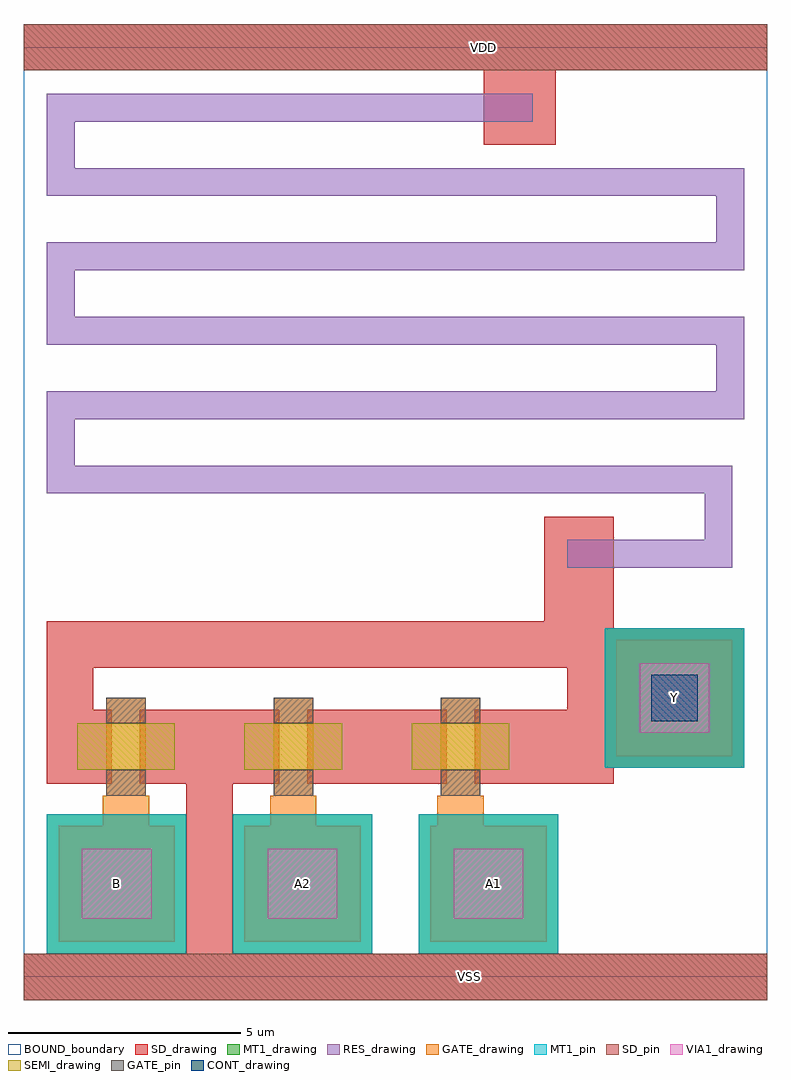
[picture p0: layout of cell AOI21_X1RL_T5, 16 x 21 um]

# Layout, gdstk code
from math import pi, radians
import gdstk
lib = gdstk.Library(unit=1e-6, precision=1e-09)
def R(c, l, rs):  # rectangles x0, y0, x1, y1
    for r in rs: c.add(gdstk.rectangle(r[:2], r[2:], *l))
def A(c, l, x, y, w, h, nx, ny, dx, dy):  # array of equal rectangles
    R(c, l, [(x+i*dx, y+j*dy, x+i*dx+w, y+j*dy+h) for i in range(nx) for j in range(ny)])
def P(c, l, *ps):  # polygons
    for p in ps: c.add(gdstk.Polygon(p, *l))
RES_drawing = (1, 0)
SEMI_drawing = (3, 0)
SD_drawing = (10, 0)
SD_pin = (10, 3)
GATE_drawing = (11, 0)
GATE_pin = (11, 3)
MT1_drawing = (20, 0)
MT1_pin = (20, 3)
CONT_drawing = (30, 0)
VIA1_drawing = (41, 0)
BOUND_boundary = (150, 5)

nch_cdns_772544861720 = lib.new_cell('nch_CDNS_772544861720')
R(nch_cdns_772544861720, SEMI_drawing, [(-1.05,-0.5,1.05,0.5)])
R(nch_cdns_772544861720, SD_drawing, [(-1.3,-0.8,-0.3,0.8), (0.3,-0.8,1.3,0.8)])
R(nch_cdns_772544861720, GATE_drawing, [(-0.425,-1.05,0.425,1.05)])
R(nch_cdns_772544861720, GATE_pin, [(-0.425,-1.05,0.425,-0.5), (-0.425,0.5,0.425,1.05)])

gate_mt1_cdns_7725448617 = lib.new_cell('GATE_MT1_CDNS_772544861720')
R(gate_mt1_cdns_7725448617, GATE_drawing, [(-1.25,-1.25,1.25,1.25)])
R(gate_mt1_cdns_7725448617, MT1_drawing, [(-1.25,-1.25,1.25,1.25)])
R(gate_mt1_cdns_7725448617, VIA1_drawing, [(-0.75,-0.75,0.75,0.75)])

sd_gate_cdns_77254486172 = lib.new_cell('SD_GATE_CDNS_772544861721')
R(sd_gate_cdns_77254486172, SD_drawing, [(-1,-1,1,1)])
R(sd_gate_cdns_77254486172, GATE_drawing, [(-1,-1,1,1)])
R(sd_gate_cdns_77254486172, CONT_drawing, [(-0.5,-0.5,0.5,0.5)])

aoi21_x1rl_t5 = lib.new_cell('AOI21_X1RL_T5')
R(aoi21_x1rl_t5, SD_drawing, [(7.1,4.15,8.1,5.75), (9.95,4.15,12.7,5.75), (12.5,4.5,15.5,7.5), (11.7,5.65,12.7,7.65), (11.2,7.65,12.7,9.9), (9.9,17.9,11.45,19.5)])
R(aoi21_x1rl_t5, SD_pin, [(0,-0.5,16,0.5), (0,19.5,16,20.5)])
P(aoi21_x1rl_t5, GATE_drawing, [(8.9,3.8),(9.9,3.8),(9.9,3.9),(9.775,3.9),(9.775,3.95),(9.025,3.95),(9.025,3.9),(8.9,3.9)],
  [(1.7,3.8),(2.7,3.8),(2.7,3.9),(2.575,3.9),(2.575,3.95),(1.825,3.95),(1.825,3.9),(1.7,3.9)],
  [(5.3,3.8),(6.3,3.8),(6.3,3.9),(6.175,3.9),(6.175,3.95),(5.425,3.95),(5.425,3.9),(5.3,3.9)])
A(aoi21_x1rl_t5, MT1_drawing, 0.5, 0.5, 3, 3, 3, 1, 4, 0)
R(aoi21_x1rl_t5, MT1_drawing, [(8.5,0.5,11.5,3.5), (12.5,4.5,15.5,7.5)])
A(aoi21_x1rl_t5, MT1_pin, 0.5, 0.5, 3, 3, 3, 1, 4, 0)
R(aoi21_x1rl_t5, MT1_pin, [(12.5,4.5,15.5,7.5)])
R(aoi21_x1rl_t5, BOUND_boundary, [(0,0,16,20)])
aoi21_x1rl_t5.add(gdstk.FlexPath([(4,5.25),(4,0.1)], 1, ends=(0.5, 0), simple_path=True, layer=10, datatype=0))  # SD_drawing
aoi21_x1rl_t5.add(gdstk.FlexPath([(4.5,5.25),(4,5.25)], 1, ends=(0, 0.5), simple_path=True, layer=10, datatype=0))  # SD_drawing
aoi21_x1rl_t5.add(gdstk.FlexPath([(1,7.15),(12.7,7.15)], 1, ends=(0.5, 0), simple_path=True, layer=10, datatype=0))  # SD_drawing
aoi21_x1rl_t5.add(gdstk.FlexPath([(1,4.15),(1,7.15)], 1, ends=(0, 0.5), simple_path=True, layer=10, datatype=0))  # SD_drawing
aoi21_x1rl_t5.add(gdstk.FlexPath([(0,20),(16,20)], 1, ends="flush", simple_path=True, layer=10, datatype=0))  # SD_drawing
aoi21_x1rl_t5.add(gdstk.FlexPath([(0,0),(16,0)], 1, ends="flush", simple_path=True, layer=10, datatype=0))  # SD_drawing
aoi21_x1rl_t5.add(gdstk.FlexPath([(2.2,2),(2,2)], 1, ends=(0.5, 0), simple_path=True, layer=11, datatype=0))  # GATE_drawing
aoi21_x1rl_t5.add(gdstk.FlexPath([(2.2,3.8),(2.2,2)], 1, ends=(0, 0.5), simple_path=True, layer=11, datatype=0))  # GATE_drawing
aoi21_x1rl_t5.add(gdstk.FlexPath([(5.8,3.25),(5.8,3.8)], 1, ends="flush", simple_path=True, layer=11, datatype=0))  # GATE_drawing
aoi21_x1rl_t5.add(gdstk.FlexPath([(9.4,3.8),(9.4,2.75)], 1, ends=(0, 0.5), simple_path=True, layer=11, datatype=0))  # GATE_drawing
aoi21_x1rl_t5.add(gdstk.FlexPath([(10,2.75),(10,2)], 1, ends=(0.5, 0), simple_path=True, layer=11, datatype=0))  # GATE_drawing
aoi21_x1rl_t5.add(gdstk.FlexPath([(9.4,2.75),(10,2.75)], 1, ends="extended", simple_path=True, layer=11, datatype=0))  # GATE_drawing
aoi21_x1rl_t5.add(gdstk.FlexPath([(10.95,18.7),(0.8,18.7),(0.8,17.1),(15.2,17.1),(15.2,15.5),(0.8,15.5),(0.8,13.9),(15.2,13.9),(15.2,12.3),(0.8,12.3),(0.8,10.7),(14.95,10.7),(14.95,9.1),(11.7,9.1)], 0.6, ends="flush", simple_path=True, layer=1, datatype=0))  # RES_drawing
aoi21_x1rl_t5.add(gdstk.Reference(nch_cdns_772544861720, (2.2,4.95), rotation=pi, x_reflection=True))
aoi21_x1rl_t5.add(gdstk.Reference(nch_cdns_772544861720, (9.4,4.95)))
aoi21_x1rl_t5.add(gdstk.Reference(nch_cdns_772544861720, (5.8,4.95)))
aoi21_x1rl_t5.add(gdstk.Reference(gate_mt1_cdns_7725448617, (2,2)))
aoi21_x1rl_t5.add(gdstk.Reference(gate_mt1_cdns_7725448617, (14,6)))
aoi21_x1rl_t5.add(gdstk.Reference(gate_mt1_cdns_7725448617, (10,2)))
aoi21_x1rl_t5.add(gdstk.Reference(gate_mt1_cdns_7725448617, (6,2)))
aoi21_x1rl_t5.add(gdstk.Reference(sd_gate_cdns_77254486172, (14,6)))
aoi21_x1rl_t5.add(gdstk.Label('A1', (10.1,2), layer=20, texttype=3))
aoi21_x1rl_t5.add(gdstk.Label('B', (2,2), layer=20, texttype=3))
aoi21_x1rl_t5.add(gdstk.Label('A2', (6,2), layer=20, texttype=3))
aoi21_x1rl_t5.add(gdstk.Label('A1', (10.1,2), layer=20, texttype=3))
aoi21_x1rl_t5.add(gdstk.Label('Y', (14,6), layer=20, texttype=3))
aoi21_x1rl_t5.add(gdstk.Label('VSS', (9.6,0), layer=10, texttype=3))
aoi21_x1rl_t5.add(gdstk.Label('VDD', (9.9,20), layer=10, texttype=3))

lib.write_gds('AOI21_X1RL_T5.gds')
